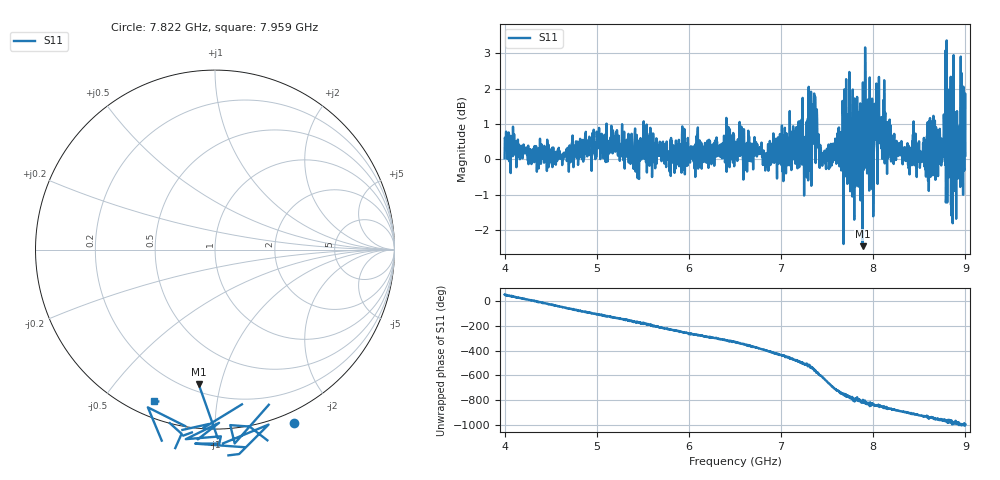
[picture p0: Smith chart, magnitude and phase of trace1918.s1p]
! Created with skrf 1.8.0 (http://scikit-rf.org).
# Hz S RI R 50.0
!freq ReS11 ImS11
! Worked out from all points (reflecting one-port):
!   1601 points, 4 GHz to 9 GHz, reference 50 ohm
!   lowest |S11| = -2.5 dB at 7.884 GHz (marker M1), VSWR 7.13, Z = 12.3 - j42.7 ohm
!   phase of S11 starts at 53 deg and turns -1049 deg over the sweep
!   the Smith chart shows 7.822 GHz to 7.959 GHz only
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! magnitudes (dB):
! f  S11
! 4 GHz  0.0
! 4.625 GHz  -0.2
! 5.25 GHz  0.0
! 5.875 GHz  -0.1
! 6.5 GHz  0.4
! 6.825 GHz  0.0
! 7.125 GHz  0.3
! 7.209 GHz  1.1
! 7.269 GHz  0.5
! 7.328 GHz  -0.7
! 7.362 GHz  1.5
! 7.441 GHz  0.0
! 7.691 GHz  0.6
! 7.75 GHz  -0.9
! 7.784 GHz  -0.2
! 7.834 GHz  -0.2
! 7.884 GHz  -2.5
! 7.928 GHz  1.5
! 7.981 GHz  0.4
! 8.038 GHz  0.4
! 8.094 GHz  1.2
! 8.375 GHz  0.1
! 8.728 GHz  0.1
! 8.791 GHz  -1.1
! 8.844 GHz  -1.3
! 8.919 GHz  -0.5
! 8.972 GHz  0.8
! 9 GHz  0.1
